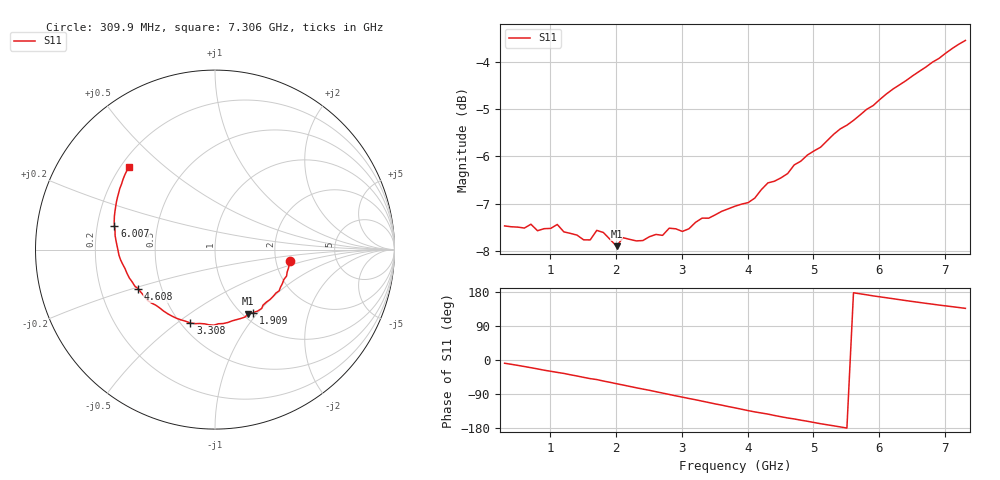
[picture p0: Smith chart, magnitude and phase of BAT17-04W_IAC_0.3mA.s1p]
! Infineon Technologies  Discrete & RF Semiconductors
! BAT17-04W
! IAC = 0.3 mA
! One-Port S-Parameters
# Hz  S  MA  R  50
!f  S11
!Hz  Mag  Ang
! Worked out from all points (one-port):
!   71 points, 309.9 MHz to 7.306 GHz, reference 50 ohm
!   lowest |S11| = -7.9 dB at 2.009 GHz (marker M1), VSWR 2.35, Z = 52.9 - j45.2 ohm
!   |S11| at or under -10 dB: nowhere
!   S11 on the Smith chart (normalised r, x): 309.9 MHz: 2.40, -0.37; 1.909 GHz: 1.12, -0.94; 3.308 GHz: 0.56, -0.56; 4.608 GHz: 0.37, -0.21; 6.007 GHz: 0.27, +0.11; 7.306 GHz: 0.23, +0.38
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3.0985e8  0.4233 -8.6
7.0965e8  0.425 -20.3
8.096e8  0.4184 -23.5
1.10945e9  0.4248 -32.7
1.2094e9  0.4172 -35.4
1.6092e9  0.4091 -49.2
1.70915e9  0.4187 -51.6
1.90905e9  0.4098 -58.9
2.009e9  0.403 -62.6
2.10895e9  0.4113 -66.1
2.4088e9  0.4085 -76.7
2.70865e9  0.4137 -87.3
2.8086e9  0.4209 -90.9
3.0085e9  0.4177 -98.0
3.30835e9  0.4314 -108.5
3.6082e9  0.4386 -119.2
3.8081e9  0.4441 -126.3
4.10795e9  0.4528 -136.9
4.30785e9  0.4699 -142.8
4.6077e9  0.4807 -153.0
4.70765e9  0.4909 -155.6
5.30735e9  0.529 -173.7
5.6072e9  0.547 177.4
6.007e9  0.5755 166.7
6.2069e9  0.5903 161.8
6.50675e9  0.6097 154.3
7.0065e9  0.644 142.8
7.30635e9  0.6643 136.3
